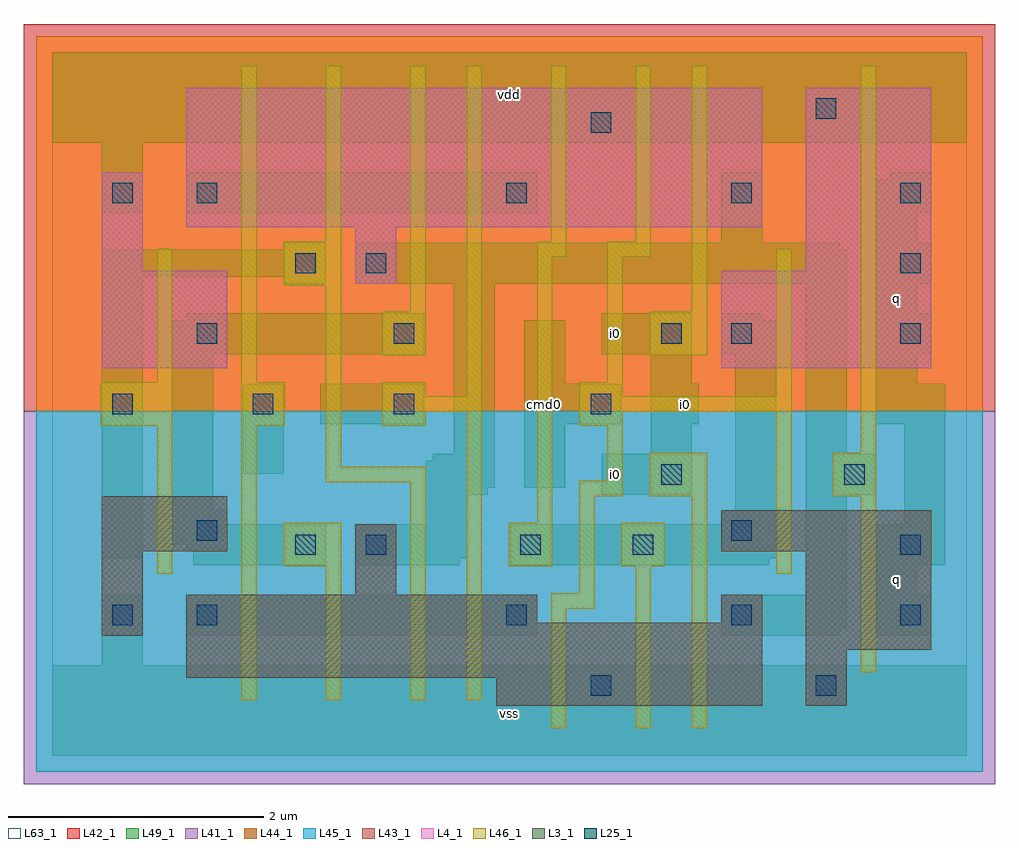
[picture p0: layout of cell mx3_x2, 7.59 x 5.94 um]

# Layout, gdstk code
import gdstk
lib = gdstk.Library(unit=1e-6, precision=1e-09)
def R(c, l, rs):  # rectangles x0, y0, x1, y1
    for r in rs: c.add(gdstk.rectangle(r[:2], r[2:], *l))
def A(c, l, x, y, w, h, nx, ny, dx, dy):  # array of equal rectangles
    R(c, l, [(x+i*dx, y+j*dy, x+i*dx+w, y+j*dy+h) for i in range(nx) for j in range(ny)])
L3_1 = (3, 1)
L4_1 = (4, 1)
L25_1 = (25, 1)
L41_1 = (41, 1)
L42_1 = (42, 1)
L43_1 = (43, 1)
L44_1 = (44, 1)
L45_1 = (45, 1)
L46_1 = (46, 1)
L49_1 = (49, 1)
L63_1 = (63, 1)

mx3_x2 = lib.new_cell('mx3_x2')
R(mx3_x2, L3_1, [(3.47,0.39,5.55,0.61), (5.89,0.39,6.21,0.83), (1.05,0.61,5.55,1.04), (5.89,0.83,6.87,1.6), (0.39,0.94,0.71,1.6), (1.05,1.04,3.79,1.26), (5.23,1.04,5.55,1.26), (2.37,1.26,2.69,1.81), (0.39,1.6,1.37,2.03), (5.23,1.6,6.87,1.92)])
R(mx3_x2, L4_1, [(0.39,3.03,1.37,3.79), (5.23,3.03,6.87,3.79), (2.37,3.69,2.69,4.13), (0.39,3.79,0.71,4.56), (5.89,3.79,6.87,5.22), (1.05,4.13,5.55,5.22)])
A(mx3_x2, L25_1, 4.21, 0.47, 0.16, 0.16, 1, 3, 0, 2.2)
A(mx3_x2, L25_1, 0.47, 2.67, 0.16, 0.16, 3, 1, 1.1, 0)
A(mx3_x2, L25_1, 6.63, 3.22, 0.16, 0.16, 1, 3, 0, 0.55)
R(mx3_x2, L25_1, [(5.97,0.47,6.13,0.63), (0.47,1.02,0.63,1.18), (1.13,1.02,1.29,1.18), (3.55,1.02,3.71,1.18), (5.31,1.02,5.47,1.18), (6.63,1.02,6.79,1.18), (1.9,1.57,2.06,1.73), (2.45,1.57,2.61,1.73), (3.66,1.57,3.82,1.73), (4.54,1.57,4.7,1.73), (6.63,1.57,6.79,1.73), (1.13,1.68,1.29,1.84), (5.31,1.68,5.47,1.84), (4.76,2.12,4.92,2.28), (6.19,2.12,6.35,2.28), (1.13,3.22,1.29,3.38), (2.67,3.22,2.83,3.38), (4.76,3.22,4.92,3.38), (5.31,3.22,5.47,3.38), (1.9,3.77,2.06,3.93), (2.45,3.77,2.61,3.93), (0.47,4.32,0.63,4.48), (1.13,4.32,1.29,4.48), (3.55,4.32,3.71,4.48), (5.31,4.32,5.47,4.48), (5.97,4.98,6.13,5.14)])
R(mx3_x2, L41_1, [(-0.22,-0.22,7.37,2.695)])
R(mx3_x2, L42_1, [(-0.22,2.695,7.37,5.72)])
R(mx3_x2, L43_1, [(3.47,0.39,5.55,0.61), (5.89,0.39,6.21,0.83), (1.05,0.61,5.55,1.04), (5.89,0.83,6.87,1.6), (0.39,0.94,0.71,1.6), (1.05,1.04,3.79,1.26), (5.23,1.04,5.55,1.26), (2.37,1.26,2.69,1.81), (0.39,1.6,1.37,2.03), (5.23,1.6,6.87,1.92), (0.39,3.03,1.37,3.79), (5.23,3.03,6.87,3.79), (2.37,3.69,2.69,4.13), (0.39,3.79,0.71,4.56), (5.89,3.79,6.87,5.22), (1.05,4.13,5.55,5.22)])
R(mx3_x2, L44_1, [(-0.125,2.695,7.275,5.625)])
R(mx3_x2, L45_1, [(-0.125,-0.125,7.275,2.695)])
R(mx3_x2, L46_1, [(3.9,0.215,4.02,1.15), (4.56,0.215,4.68,1.48), (5,0.215,5.12,2.03), (1.48,0.435,1.6,2.58), (2.14,0.435,2.26,1.48), (2.8,0.435,2.92,2.14), (3.24,0.435,3.36,2.69), (6.32,0.655,6.44,2.03), (3.9,1.15,4.24,1.27), (4.12,1.27,4.24,2.03), (0.82,1.425,0.94,2.58), (5.66,1.425,5.78,2.69), (1.81,1.48,2.26,1.82), (3.57,1.48,3.91,1.82), (4.45,1.48,4.79,1.82), (3.79,1.82,3.91,3.9), (4.12,2.03,4.46,2.15), (4.67,2.03,5.12,2.37), (6.1,2.03,6.44,2.37), (2.14,2.14,2.92,2.26), (4.34,2.15,4.46,2.58), (2.14,2.26,2.26,3.68), (6.32,2.37,6.44,5.395), (0.38,2.58,0.94,2.92), (1.48,2.58,1.82,2.92), (2.58,2.58,2.92,2.69), (4.12,2.58,4.46,2.69), (2.58,2.69,3.36,2.81), (4.12,2.69,5.78,2.81), (2.58,2.81,2.92,2.92), (3.24,2.81,3.36,5.395), (4.12,2.81,4.46,2.92), (5.66,2.81,5.78,3.965), (0.82,2.92,0.94,3.965), (1.48,2.92,1.6,5.395), (4.34,2.92,4.46,3.9), (2.58,3.13,2.92,3.47), (4.67,3.13,5.12,3.47), (2.8,3.47,2.92,5.395), (5,3.47,5.12,5.395), (1.81,3.68,2.26,4.02), (3.79,3.9,4.02,4.02), (4.34,3.9,4.68,4.02), (2.14,4.02,2.26,5.395), (3.9,4.02,4.02,5.395), (4.56,4.02,4.68,5.395)])
A(mx3_x2, L49_1, 6.44, 2.91, 0.32, 0.23, 1, 3, 0, 0.55)
R(mx3_x2, L49_1, [(0,0,7.15,0.71), (0.39,0.71,0.71,1.26), (1.05,0.94,3.79,1.26), (5.23,0.94,6.155,0.995), (6.44,0.94,6.87,1.26), (5.23,0.995,6.21,1.26), (5.89,1.26,6.21,2.04), (6.44,1.26,6.76,1.49), (1.105,1.49,2.14,1.6), (2.37,1.49,3.185,1.545), (3.58,1.49,5.605,1.545), (6.44,1.49,6.98,1.81), (0.39,1.545,0.71,3.745), (2.37,1.545,3.24,1.81), (3.58,1.545,5.66,1.81), (1.05,1.6,2.14,1.655), (0.94,1.655,2.14,1.81), (0.94,1.81,1.37,1.92), (2.92,1.81,3.24,2.04), (5.23,1.81,5.66,1.92), (6.66,1.81,6.98,2.59), (0.94,1.92,1.26,3.14), (5.34,1.92,5.66,3.14), (2.92,2.04,3.405,2.095), (4.295,2.04,5,2.36), (5.89,2.04,6.43,2.36), (2.92,2.095,3.46,2.305), (3.69,2.095,4.01,2.59), (1.49,2.205,1.81,2.91), (2.975,2.305,3.46,2.36), (3.14,2.36,3.46,3.69), (4.68,2.36,5,2.59), (5.89,2.36,6.21,3.69), (2.095,2.59,2.91,2.91), (3.69,2.59,4.45,2.91), (4.68,2.59,5.055,2.91), (6.44,2.59,6.98,2.91), (3.69,2.91,4.01,3.405), (4.68,2.91,5,3.14), (0.94,3.14,2.91,3.405), (4.295,3.14,5,3.46), (5.23,3.14,5.66,3.405), (6.44,3.14,6.87,3.46), (1.05,3.405,2.91,3.46), (5.23,3.405,5.55,3.46), (1.82,3.69,2.14,3.745), (2.37,3.69,6.21,3.955), (6.44,3.69,6.87,4.01), (0.39,3.745,2.14,3.955), (1.82,3.955,2.14,4.01), (2.37,3.955,6.155,4.01), (5.23,4.01,5.55,4.56), (0.39,4.24,0.71,4.79), (1.05,4.24,3.79,4.56), (6.44,4.24,6.87,4.505), (6.55,4.505,6.87,4.56), (0,4.79,7.15,5.5)])
R(mx3_x2, L63_1, [(0,0,7.15,5.5)])
mx3_x2.add(gdstk.Label('vss', (3.575,0.33), layer=49, texttype=1))
mx3_x2.add(gdstk.Label('vss', (3.575,0.33), layer=49, texttype=1))
mx3_x2.add(gdstk.Label('cmd0', (3.85,2.75), layer=49, texttype=1))
mx3_x2.add(gdstk.Label('cmd0', (3.85,2.75), layer=49, texttype=1))
mx3_x2.add(gdstk.Label('vdd', (3.575,5.17), layer=49, texttype=1))
mx3_x2.add(gdstk.Label('vdd', (3.575,5.17), layer=49, texttype=1))
mx3_x2.add(gdstk.Label('i0', (4.4,2.2), layer=49, texttype=1))
mx3_x2.add(gdstk.Label('i0', (4.4,2.2), layer=49, texttype=1))
mx3_x2.add(gdstk.Label('i0', (4.95,2.75), layer=49, texttype=1))
mx3_x2.add(gdstk.Label('i0', (4.95,2.75), layer=49, texttype=1))
mx3_x2.add(gdstk.Label('i0', (4.4,3.3), layer=49, texttype=1))
mx3_x2.add(gdstk.Label('i0', (4.4,3.3), layer=49, texttype=1))
mx3_x2.add(gdstk.Label('q', (6.6,1.375), layer=49, texttype=1))
mx3_x2.add(gdstk.Label('q', (6.6,1.375), layer=49, texttype=1))
mx3_x2.add(gdstk.Label('q', (6.6,3.575), layer=49, texttype=1))
mx3_x2.add(gdstk.Label('q', (6.6,3.575), layer=49, texttype=1))

lib.write_gds('mx3_x2.gds')
